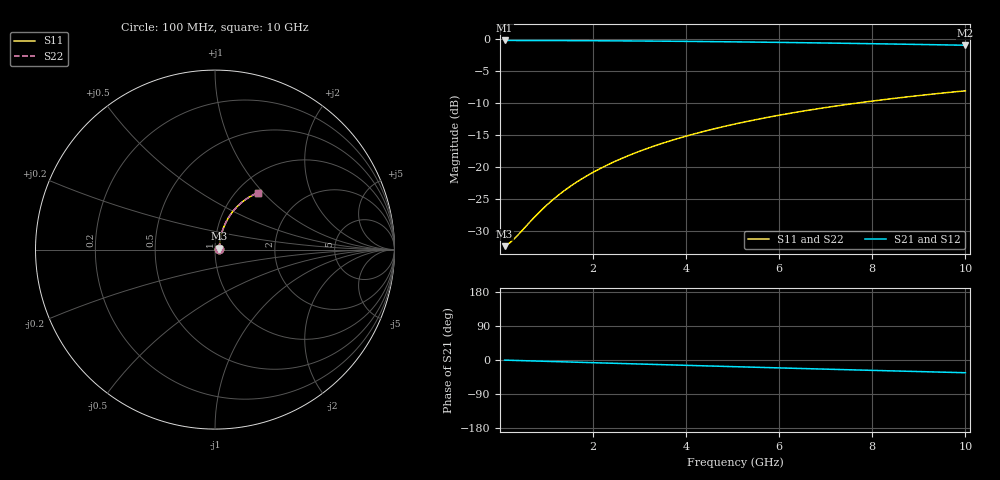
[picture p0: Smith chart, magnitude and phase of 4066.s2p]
# Hz S RI R 50.00
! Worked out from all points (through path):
!   100 points, 100 MHz to 10 GHz, reference 50 ohm
!   highest |S21| = -0.21 dB at 100 MHz (marker M1); lowest = -1.0 dB at 10 GHz (marker M2)
!   group delay of S21, straight-line fit = 9.36 ps
!   lowest |S11| = -32.3 dB at 100 MHz (marker M3), VSWR 1.05, Z = 52.4 + j0.449 ohm
!   |S11| at or under -10 dB: start of sweep to 7.652 GHz
!   |S22| runs from -32.3 to -8.1 dB; largest |S21 - S12| = 0
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1e8  0.0239 0.00428  0.9761 -0.00605  0.9761 -0.00605  0.0239 0.00428
2e8  0.0241 0.00855  0.9759 -0.0121  0.9759 -0.0121  0.0241 0.00855
3e8  0.0244 0.0128  0.9756 -0.0181  0.9756 -0.0181  0.0244 0.0128
8e8  0.0262 0.0341  0.9737 -0.0483  0.9737 -0.0483  0.0262 0.0341
9e8  0.0267 0.0383  0.9732 -0.0543  0.9732 -0.0543  0.0267 0.0383
1.1e9  0.0278 0.0468  0.972 -0.0663  0.972 -0.0663  0.0278 0.0468
1.4e9  0.0299 0.0594  0.9698 -0.0842  0.9698 -0.0842  0.0299 0.0594
1.6e9  0.0315 0.0677  0.968 -0.0961  0.968 -0.0961  0.0315 0.0677
1.8e9  0.0334 0.076  0.9661 -0.108  0.9661 -0.108  0.0334 0.076
2.1e9  0.0365 0.0883  0.9627 -0.1256  0.9627 -0.1256  0.0365 0.0883
2.5e9  0.0414 0.1045  0.9576 -0.1489  0.9576 -0.1489  0.0414 0.1045
2.9e9  0.047 0.1204  0.9516 -0.1719  0.9516 -0.1719  0.047 0.1204
3.4e9  0.055 0.1397  0.9431 -0.2001  0.9431 -0.2001  0.055 0.1397
3.8e9  0.0623 0.1547  0.9354 -0.2223  0.9354 -0.2223  0.0623 0.1547
4.2e9  0.0702 0.1692  0.9269 -0.244  0.9269 -0.244  0.0702 0.1692
4.6e9  0.0787 0.1833  0.9178 -0.2652  0.9178 -0.2652  0.0787 0.1833
5.1e9  0.0902 0.2002  0.9055 -0.2911  0.9055 -0.2911  0.0902 0.2002
5.9e9  0.1104 0.2254  0.8839 -0.3306  0.8839 -0.3306  0.1104 0.2254
6.7e9  0.1325 0.2483  0.8601 -0.3679  0.8601 -0.3679  0.1325 0.2483
7.5e9  0.1563 0.2687  0.8345 -0.4027  0.8345 -0.4027  0.1563 0.2687
8.4e9  0.1844 0.2885  0.8039 -0.4389  0.8039 -0.4389  0.1844 0.2885
1e10  0.2372 0.3158  0.7462 -0.4954  0.7462 -0.4954  0.2372 0.3158
